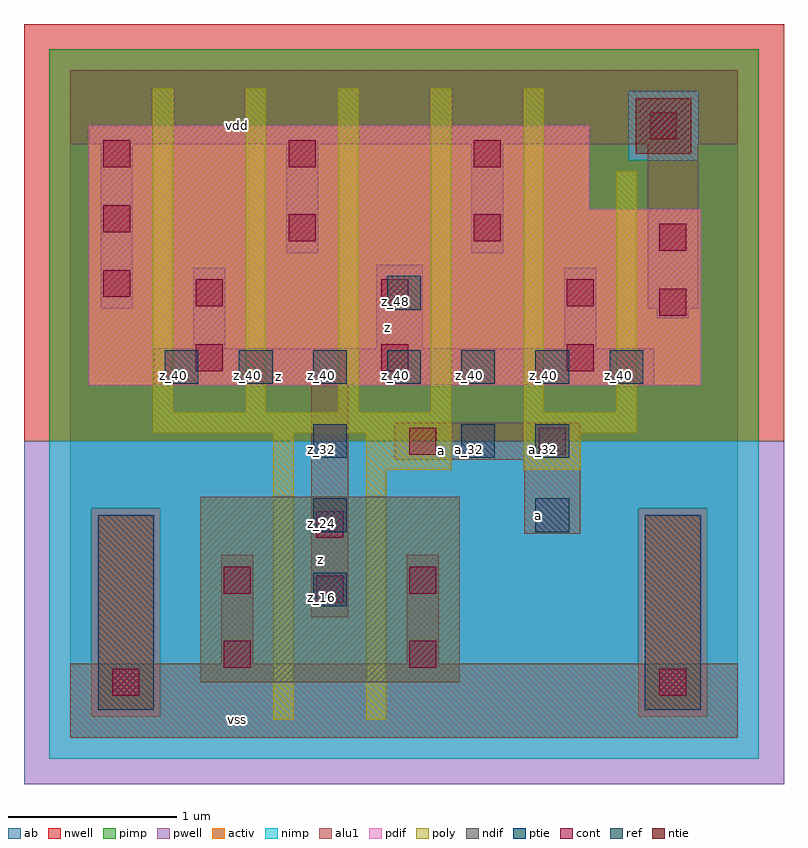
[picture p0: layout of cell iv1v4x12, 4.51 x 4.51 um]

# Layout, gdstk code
import gdstk
lib = gdstk.Library(unit=1e-6, precision=2.5e-09)
def R(c, l, rs):  # rectangles x0, y0, x1, y1
    for r in rs: c.add(gdstk.rectangle(r[:2], r[2:], *l))
def A(c, l, x, y, w, h, nx, ny, dx, dy):  # array of equal rectangles
    R(c, l, [(x+i*dx, y+j*dy, x+i*dx+w, y+j*dy+h) for i in range(nx) for j in range(ny)])
ndif = (3, 0)
pdif = (4, 0)
ntie = (5, 0)
ptie = (6, 0)
ref = (24, 0)
cont = (25, 0)
pwell = (41, 0)
nwell = (42, 0)
activ = (43, 0)
pimp = (44, 0)
nimp = (45, 0)
poly = (46, 0)
alu1 = (49, 0)
ab = (63, 0)

iv1v4x12 = lib.new_cell('iv1v4x12')
R(iv1v4x12, ndif, [(0.77,0.33,2.31,1.43)])
R(iv1v4x12, pdif, [(0.11,2.09,3.74,3.135), (0.11,3.135,3.08,3.63)])
R(iv1v4x12, ntie, [(3.355,3.465,3.685,3.795)])
R(iv1v4x12, ptie, [(0.165,0.165,0.495,1.32), (3.41,0.165,3.74,1.32)])
A(iv1v4x12, ref, 1.44, 0.78, 0.2, 0.2, 1, 3, 0, 0.44)
A(iv1v4x12, ref, 0.56, 2.1, 0.2, 0.2, 7, 1, 0.44, 0)
R(iv1v4x12, ref, [(2.76,1.22,2.96,1.42), (2.32,1.66,2.52,1.86), (2.76,1.66,2.96,1.86), (1.88,2.54,2.08,2.74)])
A(iv1v4x12, cont, 0.745, 2.175, 0.16, 0.16, 3, 2, 1.1, 0.385)
A(iv1v4x12, cont, 0.195, 3.385, 0.16, 0.16, 3, 1, 1.1, 0)
R(iv1v4x12, cont, [(0.25,0.25,0.41,0.41), (3.495,0.25,3.655,0.41), (0.91,0.415,1.07,0.575), (2.01,0.415,2.17,0.575), (1.46,0.8,1.62,0.96), (0.91,0.855,1.07,1.015), (2.01,0.855,2.17,1.015), (1.46,1.185,1.62,1.345), (2.01,1.68,2.17,1.84), (2.78,1.68,2.94,1.84), (3.495,2.505,3.655,2.665), (0.195,2.615,0.355,2.775), (3.495,2.89,3.655,3.05), (1.295,2.945,1.455,3.105), (2.395,2.945,2.555,3.105), (0.195,3,0.355,3.16), (3.44,3.55,3.6,3.71)])
R(iv1v4x12, pwell, [(-0.275,-0.275,4.235,1.76)])
R(iv1v4x12, nwell, [(-0.275,1.76,4.235,4.235)])
R(iv1v4x12, activ, [(0.165,0.165,0.495,1.32), (3.41,0.165,3.74,1.32), (0.77,0.33,2.31,1.43), (0.11,2.09,3.74,3.135), (0.11,3.135,3.08,3.63), (3.355,3.465,3.685,3.795)])
R(iv1v4x12, pimp, [(0.125,0.125,0.535,1.36), (3.37,0.125,3.78,1.36), (-0.125,1.76,4.085,3.425), (-0.125,3.425,3.315,3.835), (3.725,3.425,4.085,3.835), (-0.125,3.835,4.085,4.085)])
R(iv1v4x12, nimp, [(-0.125,-0.125,4.085,0.125), (-0.125,0.125,0.125,1.36), (0.535,0.125,3.37,1.36), (3.78,0.125,4.085,1.36), (-0.125,1.36,4.085,1.76), (3.315,3.425,3.725,3.835)])
A(iv1v4x12, poly, 0.49, 1.93, 0.12, 1.925, 5, 1, 0.55, 0)
R(iv1v4x12, poly, [(1.205,0.105,1.325,1.81), (1.755,0.105,1.875,1.59), (1.755,1.59,2.26,1.81), (2.69,1.59,3.03,1.81), (0.49,1.81,2.26,1.93), (2.69,1.81,3.36,1.93), (3.24,1.93,3.36,3.36)])
R(iv1v4x12, alu1, [(0,0,3.96,0.44), (0.895,0.44,1.085,1.085), (1.995,0.44,2.185,1.085), (1.43,0.715,1.65,2.09), (2.695,1.21,3.025,1.65), (1.925,1.65,3.025,1.87), (0.495,2.09,3.465,2.31), (0.73,2.31,0.92,2.79), (1.815,2.31,2.09,2.805), (2.93,2.31,3.12,2.79), (3.48,2.49,3.67,2.545), (0.18,2.545,0.37,3.52), (3.425,2.545,3.725,3.52), (1.28,2.875,1.47,3.52), (2.38,2.875,2.57,3.52), (0,3.52,3.96,3.96)])
R(iv1v4x12, ab, [(0,0,3.96,3.96)])
iv1v4x12.add(gdstk.Label('vss', (0.99,0.11), layer=49, texttype=0))
iv1v4x12.add(gdstk.Label('a', (2.7775,1.32), layer=49, texttype=0))
iv1v4x12.add(gdstk.Label('a', (2.2,1.705), layer=49, texttype=0))
iv1v4x12.add(gdstk.Label('z', (1.485,1.0575), layer=49, texttype=0))
iv1v4x12.add(gdstk.Label('z', (1.2375,2.145), layer=49, texttype=0))
iv1v4x12.add(gdstk.Label('z', (1.8825,2.4325), layer=49, texttype=0))
iv1v4x12.add(gdstk.Label('vdd', (0.99,3.63), layer=49, texttype=0))
iv1v4x12.add(gdstk.Label('z_40', (0.61,2.15), layer=24, texttype=0))
iv1v4x12.add(gdstk.Label('z_40', (1.05,2.15), layer=24, texttype=0))
iv1v4x12.add(gdstk.Label('z_16', (1.49,0.83), layer=24, texttype=0))
iv1v4x12.add(gdstk.Label('z_24', (1.49,1.27), layer=24, texttype=0))
iv1v4x12.add(gdstk.Label('z_32', (1.49,1.71), layer=24, texttype=0))
iv1v4x12.add(gdstk.Label('z_40', (1.49,2.15), layer=24, texttype=0))
iv1v4x12.add(gdstk.Label('z_40', (1.93,2.15), layer=24, texttype=0))
iv1v4x12.add(gdstk.Label('z_48', (1.93,2.59), layer=24, texttype=0))
iv1v4x12.add(gdstk.Label('a_32', (2.37,1.71), layer=24, texttype=0))
iv1v4x12.add(gdstk.Label('z_40', (2.37,2.15), layer=24, texttype=0))
iv1v4x12.add(gdstk.Label('a_24', (2.81,1.27), layer=24, texttype=0))
iv1v4x12.add(gdstk.Label('a_32', (2.81,1.71), layer=24, texttype=0))
iv1v4x12.add(gdstk.Label('z_40', (2.81,2.15), layer=24, texttype=0))
iv1v4x12.add(gdstk.Label('z_40', (3.25,2.15), layer=24, texttype=0))

lib.write_gds('iv1v4x12.gds')
